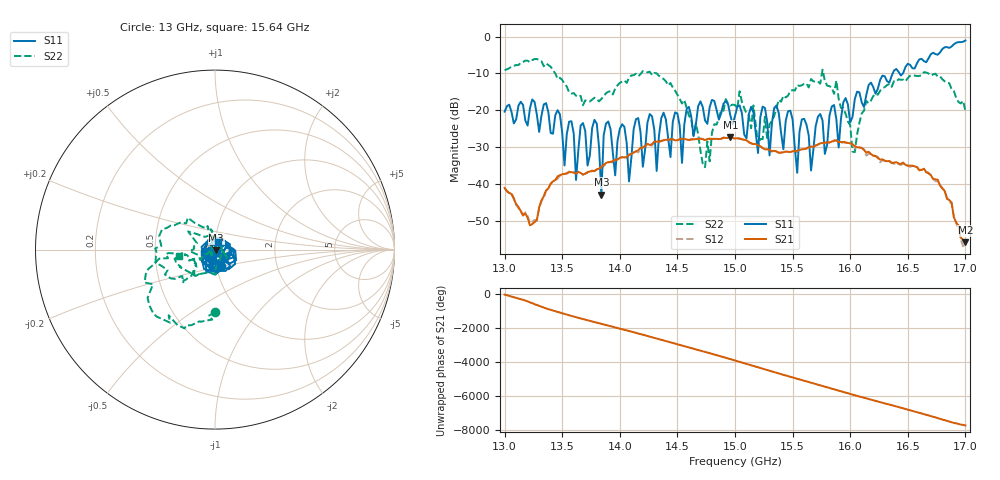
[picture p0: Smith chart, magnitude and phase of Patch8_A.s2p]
!Keysight Technologies,P9374A,MY57211810,A.19.30.04
!Date: Friday, May 09, 2025 11:26:58
!Correction: S11(C* 2-Port  )
!S21(C* 2-Port  )
!S12(C* 2-Port  )
!S22(C* 2-Port  )
!S2P File: Measurements: S11, S21, S12, S22:
# Hz S  dB  R 50
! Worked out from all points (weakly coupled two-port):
!   201 points, 13 GHz to 17 GHz, reference 50 ohm
!   highest |S21| = -27.40 dB at 14.96 GHz (marker M1); lowest = -55.9 dB at 17 GHz (marker M2)
!   lowest |S11| = -42.9 dB at 13.84 GHz (marker M3), VSWR 1.01, Z = 50.6 - j0.404 ohm
!   |S11| at or under -10 dB: start of sweep to 16.37 GHz; 16.428 GHz to 16.45749 GHz (29.49 MHz wide, 0.179 % of centre)
!   |S22| runs from -35.5 to -6.1 dB; largest |S21 - S12| = 0.0026
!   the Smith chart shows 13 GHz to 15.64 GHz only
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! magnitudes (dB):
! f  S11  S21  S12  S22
! 13 GHz  -20.4  -41.1  -41.1  -9.1
! 13.46 GHz  -20.0  -38.0  -38.6  -11.5
! 13.52 GHz  -35.0  -37.3  -37.3  -12.8
! 13.58 GHz  -23.0  -36.8  -37.0  -15.5
! 13.62 GHz  -38.9  -37.3  -37.1  -16.1
! 13.68 GHz  -23.5  -37.5  -37.6  -18.7
! 13.8 GHz  -23.6  -36.1  -36.2  -17.0
! 13.84 GHz  -42.9  -35.3  -35.9  -17.0
! 13.88 GHz  -23.6  -34.4  -34.6  -15.4
! 14.04 GHz  -24.5  -32.9  -32.7  -11.9
! 14.08 GHz  -39.4  -32.2  -32.0  -11.2
! 14.14 GHz  -22.5  -31.2  -31.2  -10.1
! 14.34 GHz  -26.9  -28.6  -28.6  -10.7
! 14.74 GHz  -22.8  -28.2  -28.1  -35.5
! 14.96 GHz  -21.5  -27.4  -27.5  -18.7
! 15 GHz  -21.6  -27.7  -27.7  -18.6
! 15.2 GHz  -31.6  -29.6  -29.6  -29.6
! 15.36 GHz  -18.7  -31.2  -31.3  -19.4
! 15.68 GHz  -30.9  -30.0  -30.0  -12.2
! 16.04 GHz  -17.0  -29.7  -30.4  -31.4
! 16.34 GHz  -12.5  -33.8  -33.9  -12.9
! 17 GHz  -1.1  -55.9  -56.9  -20.2
